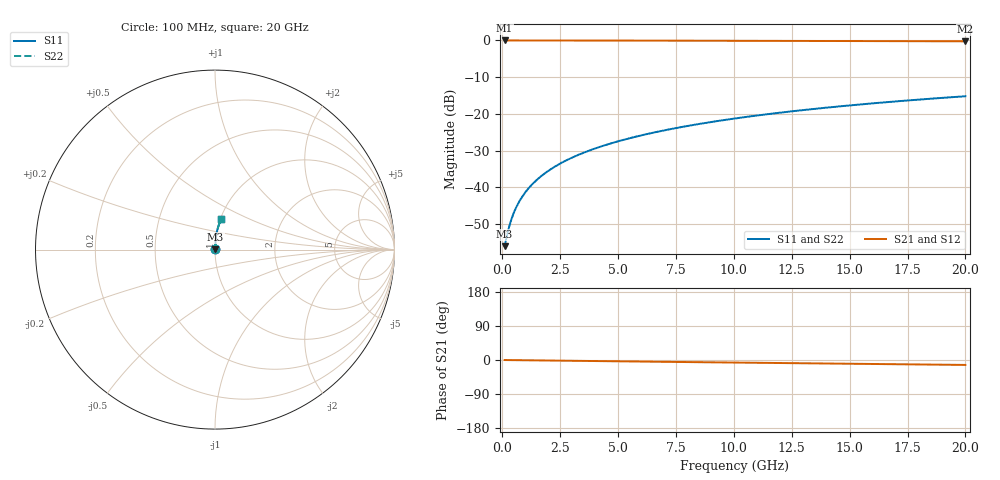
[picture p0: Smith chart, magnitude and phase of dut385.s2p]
! Touchstone file exported from HFSS 2024.1.0
!  File:  C:/UserFiles/LocalFiles/RDL_TSV_Batchsim/temp_RDL_top_385_1779609573.aedt
!  Generated:  04:02:17 PM May 24, 2026
!  Design:  RDL_top
!  Project:  temp_RDL_top_385_1779609573
!  Setup:  Setup1
!  Solution:  Sweep
! Variables:
!  dtsv = 10.80580581um
!  hbump = 3um
!  htsv = 80.89um
!  ldown = 100um
!  lrdl = 122.16um
!  p = 40
!  p1 = 50.47um
!  rhole = 1um
!  t = 450um
!  tdown = 3.915915916um
!  trdl = 2.71um
!  wdown = 15.38538539um
!  wrdl = 15.07um
# GHz S MA R 50.000000
! Terminal data exported
! Port[1] = Box2_T1
! Port[2] = Box2_T2
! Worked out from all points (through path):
!   200 points, 100 MHz to 20 GHz, reference 50 ohm
!   highest |S21| = -0.01 dB at 100 MHz (marker M1); lowest = -0.2 dB at 20 GHz (marker M2)
!   group delay of S21, straight-line fit = 1.8 ps
!   lowest |S11| = -56.0 dB at 100 MHz (marker M3), VSWR 1.00, Z = 50.1 + j0.0876 ohm
!   |S11| at or under -10 dB: start of sweep to end of sweep
!   |S22| runs from -56.0 to -15.2 dB; largest |S21 - S12| = 5.3e-15
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0.1  0.001582 33.5  0.9987 -0.1  0.9987 -0.1  0.001582 33.5
! Gamma 0 0 0 0
! Port Impedance 50 0 50 0
0.2  0.002196 52.5  0.9987 -0.1  0.9987 -0.1  0.002196 52.5
0.3  0.002938 62.4  0.9986 -0.2  0.9986 -0.2  0.002938 62.4
0.4  0.003724 68.1  0.9986 -0.3  0.9986 -0.3  0.003724 68.1
0.5  0.004527 71.7  0.9986 -0.4  0.9986 -0.4  0.004527 71.7
0.6  0.005337 74.3  0.9985 -0.4  0.9985 -0.4  0.005337 74.3
0.8  0.006966 77.6  0.9984 -0.6  0.9984 -0.6  0.006966 77.6
1.1  0.009423 80.5  0.9983 -0.8  0.9983 -0.8  0.009423 80.5
1.5  0.01272 82.7  0.9982 -1.1  0.9982 -1.1  0.01272 82.7
1.8  0.01521 83.7  0.998 -1.3  0.998 -1.3  0.01521 83.7
2.1  0.01771 84.5  0.9979 -1.5  0.9979 -1.5  0.01771 84.5
2.7  0.02274 85.4  0.9975 -1.9  0.9975 -1.9  0.02274 85.4
3.5  0.02949 86.0  0.9969 -2.4  0.9969 -2.4  0.02949 86.0
4.2  0.03545 86.3  0.9963 -2.9  0.9963 -2.9  0.03545 86.3
5  0.04232 86.4  0.9954 -3.5  0.9954 -3.5  0.04232 86.4
5.9  0.05011 86.3  0.9944 -4.1  0.9944 -4.1  0.0501 86.3
6.8  0.05795 86.1  0.9933 -4.7  0.9933 -4.7  0.05795 86.1
8.3  0.07114 85.6  0.9913 -5.7  0.9913 -5.7  0.07113 85.6
10.1  0.08706 84.7  0.9887 -6.8  0.9887 -6.8  0.08706 84.7
13.4  0.1163 82.8  0.9835 -8.9  0.9835 -8.9  0.1163 82.8
16.7  0.1453 80.8  0.9779 -11.0  0.9779 -11.0  0.1453 80.8
20  0.1738 78.6  0.9719 -13.0  0.9719 -13.0  0.1738 78.6
